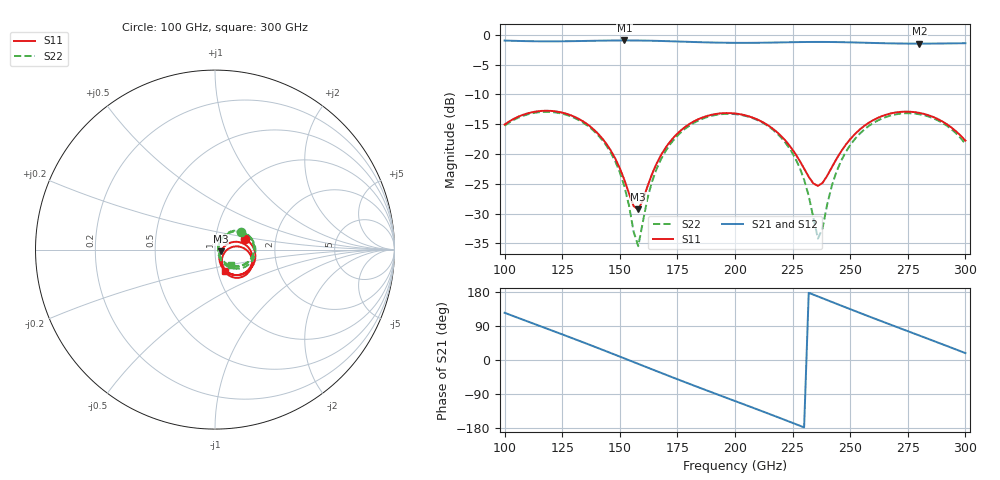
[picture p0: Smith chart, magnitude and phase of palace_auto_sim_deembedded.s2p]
! Created with skrf 1.11.0 (http://scikit-rf.org).
# GHz S DB R 50.0
!freq dBS11 angS11 dBS21 angS21 dBS12 angS12 dBS22 angS22
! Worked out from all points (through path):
!   101 points, 100 GHz to 300 GHz, reference 50 ohm
!   highest |S21| = -0.96 dB at 152 GHz (marker M1); lowest = -1.5 dB at 280 GHz (marker M2)
!   group delay of S21, straight-line fit = 6.5 ps
!   lowest |S11| = -29.3 dB at 158 GHz (marker M3), VSWR 1.07, Z = 53.4 - j0.978 ohm
!   |S11| at or under -10 dB: start of sweep to end of sweep
!   |S22| runs from -35.5 to -12.9 dB; largest |S21 - S12| = 1.6e-13
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100  -15.07 19.7  -0.97 124.6  -0.97 124.6  -15.26 34.3
116  -12.78 -12.7  -1.10 88.1  -1.10 88.1  -12.96 2.6
134  -14.52 -49.1  -1.05 46.9  -1.05 46.9  -14.73 -33.9
144  -18.21 -65.8  -0.98 23.3  -0.98 23.3  -18.51 -52.7
152  -24.38 -65.8  -0.96 4.2  -0.96 4.2  -25.45 -60.3
158  -29.32 -15.5  -0.97 -10.2  -0.97 -10.2  -35.48 9.0
162  -25.47 17.9  -0.99 -19.8  -0.99 -19.8  -27.48 56.4
168  -20.12 23.9  -1.05 -34.2  -1.05 -34.2  -20.80 55.9
184  -14.19 -0.1  -1.24 -71.7  -1.24 -71.7  -14.41 27.3
200  -13.21 -29.6  -1.36 -108.3  -1.36 -108.3  -13.32 -4.2
210  -14.27 -47.0  -1.35 -131.1  -1.35 -131.1  -14.37 -23.8
222  -17.81 -62.9  -1.27 -158.9  -1.27 -158.9  -18.16 -46.2
230  -22.46 -59.2  -1.22 -177.9  -1.22 -177.9  -24.32 -54.5
234  -24.95 -41.3  -1.21 172.5  -1.21 172.5  -30.68 -41.2
236  -25.37 -27.0  -1.21 167.7  -1.21 167.7  -34.21 -8.3
238  -24.86 -12.9  -1.21 162.9  -1.21 162.9  -32.47 35.8
242  -22.26 4.4  -1.22 153.3  -1.22 153.3  -25.38 59.2
248  -18.50 8.7  -1.26 139.0  -1.26 139.0  -19.73 55.7
258  -14.79 -2.6  -1.36 115.3  -1.36 115.3  -15.33 37.8
268  -13.17 -19.4  -1.45 92.2  -1.45 92.2  -13.51 17.6
280  -13.11 -40.3  -1.49 64.6  -1.49 64.6  -13.34 -6.8
300  -17.77 -65.7  -1.42 18.2  -1.42 18.2  -18.31 -44.5
